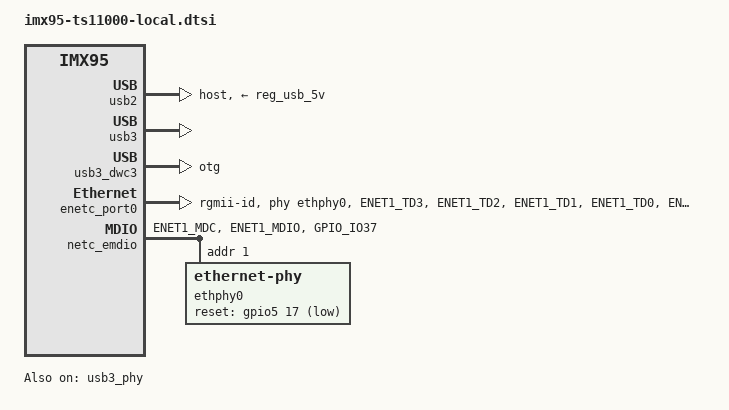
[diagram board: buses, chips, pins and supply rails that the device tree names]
// SPDX-License-Identifier: GPL-2.0+
/*
 * Copyright 2025 NXP
 */

/ {
	aliases {
		ethernet0 = &enetc_port0;
		spi0 = &flexspi1;
		usb0 = &usb3_dwc3;
		usb1 = &usb2;
	};

	chosen {
		bootargs = "console=ttyLP0,115200 earlycon";
	};
};

&usb2 {
	dr_mode = "host";
	vbus-supply = <&reg_usb_5v>;
	hnp-disable;
	srp-disable;
	adp-disable;
	disable-over-current;
	status = "okay";
};

&usb3 {
	status = "okay";
};

&usb3_phy {
	status = "okay";
};

&usb3_dwc3 {
	dr_mode = "otg";
	hnp-disable;
	srp-disable;
	adp-disable;
	usb-role-switch;
	role-switch-default-mode = "none";
	snps,dis-u1-entry-quirk;
	snps,dis-u2-entry-quirk;
	status = "okay";
};

&enetc_port0 {
	pinctrl-names = "default";
	pinctrl-0 = <&pinctrl_enetc0>;
	phy-handle = <&ethphy0>;
	phy-mode = "rgmii-id";
	status = "okay";
};

&netc_emdio {
	pinctrl-names = "default";
	pinctrl-0 = <&pinctrl_emdio>;
	status = "okay";

	ethphy0: ethernet-phy@1 {
		reg = <1>;
		eee-broken-1000t;
		reset-gpios = <&gpio5 17 GPIO_ACTIVE_LOW>;
		reset-assert-us = <10000>;
		reset-deassert-us = <80000>;
	};
};

&scmi_iomuxc {
	pinctrl_emdio: emdiogrp{
		fsl,pins = <
			IMX95_PAD_ENET1_MDC__NETCMIX_TOP_NETC_MDC		0x57e
			IMX95_PAD_ENET1_MDIO__NETCMIX_TOP_NETC_MDIO		0x97e
			IMX95_PAD_GPIO_IO37__GPIO5_IO_BIT17             0x50e
		>;
	};

	pinctrl_enetc0: enetc0grp {
		fsl,pins = <
			IMX95_PAD_ENET1_TD3__NETCMIX_TOP_ETH0_RGMII_TD3		0x57e
			IMX95_PAD_ENET1_TD2__NETCMIX_TOP_ETH0_RGMII_TD2		0x57e
			IMX95_PAD_ENET1_TD1__NETCMIX_TOP_ETH0_RGMII_TD1		0x57e
			IMX95_PAD_ENET1_TD0__NETCMIX_TOP_ETH0_RGMII_TD0		0x57e
			IMX95_PAD_ENET1_TX_CTL__NETCMIX_TOP_ETH0_RGMII_TX_CTL	0x57e
			IMX95_PAD_ENET1_TXC__NETCMIX_TOP_ETH0_RGMII_TX_CLK	0x5fe
			IMX95_PAD_ENET1_RX_CTL__NETCMIX_TOP_ETH0_RGMII_RX_CTL	0x57e
			IMX95_PAD_ENET1_RXC__NETCMIX_TOP_ETH0_RGMII_RX_CLK	0x5fe
			IMX95_PAD_ENET1_RD0__NETCMIX_TOP_ETH0_RGMII_RD0		0x57e
			IMX95_PAD_ENET1_RD1__NETCMIX_TOP_ETH0_RGMII_RD1		0x57e
			IMX95_PAD_ENET1_RD2__NETCMIX_TOP_ETH0_RGMII_RD2		0x57e
			IMX95_PAD_ENET1_RD3__NETCMIX_TOP_ETH0_RGMII_RD3		0x57e
		>;
	};
};
